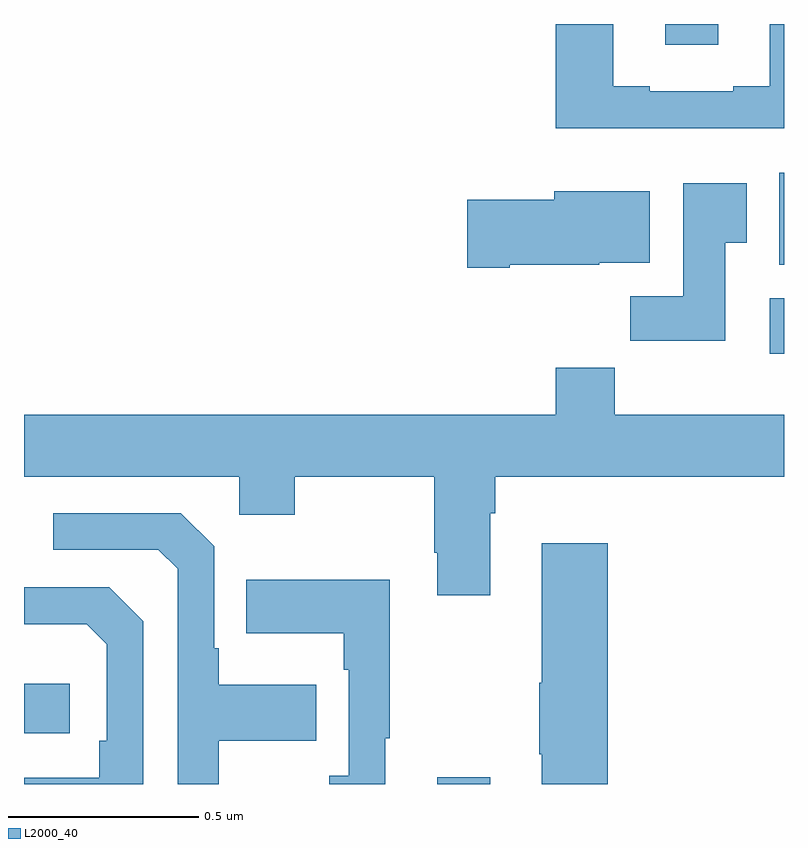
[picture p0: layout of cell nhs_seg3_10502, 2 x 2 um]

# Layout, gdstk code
import gdstk
lib = gdstk.Library(unit=1e-6, precision=1e-09)
def R(c, l, rs):  # rectangles x0, y0, x1, y1
    for r in rs: c.add(gdstk.rectangle(r[:2], r[2:], *l))
def P(c, l, *ps):  # polygons
    for p in ps: c.add(gdstk.Polygon(p, *l))
L2000_40 = (2000, 40)

nhs_seg3_10502 = lib.new_cell('nhs_seg3_10502')
R(nhs_seg3_10502, L2000_40, [(242.087,741.4,242.227,741.418), (241,741.534,241.12,741.664), (242.963,742.532,243,742.678), (242.987,742.766,243,743.008), (242.687,743.346,242.827,743.4)])
P(nhs_seg3_10502, L2000_40, [(243,743.4),(242.963,743.4),(242.963,743.236),(242.867,743.236),(242.867,743.223),(242.647,743.223),(242.647,743.236),(242.551,743.236),(242.551,743.4),(242.399,743.4),(242.399,743.126),(243,743.126)],
  [(242.845,742.825),(242.902,742.825),(242.902,742.981),(242.735,742.981),(242.735,742.684),(242.596,742.684),(242.596,742.566),(242.845,742.566)],
  [(242.278,742.766),(242.514,742.766),(242.514,742.772),(242.647,742.772),(242.647,742.96),(242.396,742.96),(242.396,742.937),(242.166,742.937),(242.166,742.759),(242.278,742.759)],
  [(242.227,742.112),(242.24,742.112),(242.24,742.208),(243,742.208),(243,742.372),(242.555,742.372),(242.555,742.496),(242.399,742.496),(242.399,742.372),(241,742.372),(241,742.208),(241.566,742.208),(241.566,742.109),(241.713,742.109),(241.713,742.208),(242.08,742.208),(242.08,742.009),(242.087,742.009),(242.087,741.897),(242.227,741.897)],
  [(241.513,741.514),(241.769,741.514),(241.769,741.661),(241.513,741.661),(241.513,741.757),(241.5,741.757),(241.5,742.026),(241.413,742.113),(241.077,742.113),(241.077,742.017),(241.353,742.017),(241.404,741.966),(241.404,741.4),(241.513,741.4)],
  [(242.536,742.033),(242.363,742.033),(242.363,741.667),(242.356,741.667),(242.356,741.478),(242.363,741.478),(242.363,741.4),(242.536,741.4)],
  [(241.951,741.521),(241.963,741.521),(241.963,741.937),(241.585,741.937),(241.585,741.797),(241.842,741.797),(241.842,741.701),(241.854,741.701),(241.854,741.422),(241.803,741.422),(241.803,741.4),(241.951,741.4)],
  [(241.314,741.828),(241.224,741.918),(241,741.918),(241,741.821),(241.165,741.821),(241.218,741.768),(241.218,741.514),(241.198,741.514),(241.198,741.417),(241,741.417),(241,741.4),(241.314,741.4)])

lib.write_gds('nhs_seg3_10502.gds')
